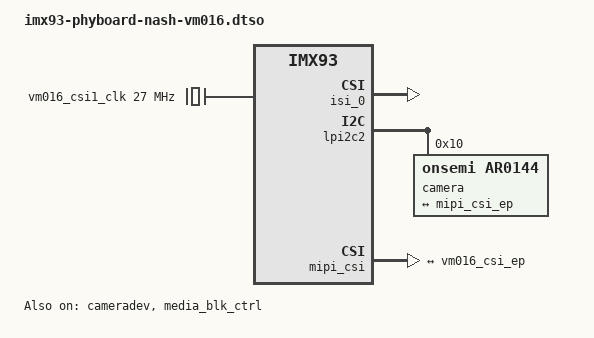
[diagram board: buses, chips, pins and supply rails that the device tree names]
// SPDX-License-Identifier: GPL-2.0
/*
 * Copyright (C) 2024 PHYTEC Messtechnik GmbH
 * Author: Stefan Riedmüller <s.riedmueller@phytec.de>
 */

/dts-v1/;
/plugin/;

/ {
	compatible = "phytec,imx93-phyboard-nash";
};

&{/} {
	vm016_csi1_clk: vm016-csi1-ext-clk {
		#clock-cells = <0>;
		compatible = "fixed-clock";
		clock-frequency = <27000000>;
	};
};

&cameradev {
	status = "okay";
};

&isi_0 {
	status = "okay";

	cap_device {
		status = "okay";
	};
};

&lpi2c2 {
	#address-cells = <1>;
	#size-cells = <0>;

	camera@10 {
		#address-cells = <0x1>;
		#size-cells = <0x0>;

		compatible = "onsemi,ar0144";
		reg = <0x10>;
		clocks = <&vm016_csi1_clk>;
		clock-names = "ext";

		port@0 {
			reg = <0>;

			vm016_csi_ep: endpoint {
				remote-endpoint = <&mipi_csi_ep>;
				bus-type = <4>; /* MIPI CSI-2 D-PHY */
				link-frequencies = /bits/ 64 <222750000>;
				data-lanes = <1 2>;
				clock-lanes = <0>;
				clock-noncontinuous = <1>;
			};
		};
	};
};

&media_blk_ctrl {
	status = "okay";
};

&mipi_csi {
	#address-cells = <1>;
	#size-cells = <0>;
	status = "okay";

	port@0 {
		reg = <0>;
		mipi_csi_ep: endpoint {
			remote-endpoint = <&vm016_csi_ep>;
			data-lanes = <2>;
			cfg-clk-range = <28>;
			hs-clk-range = <0x16>;
			bus-type = <4>;
		};
	};
};
